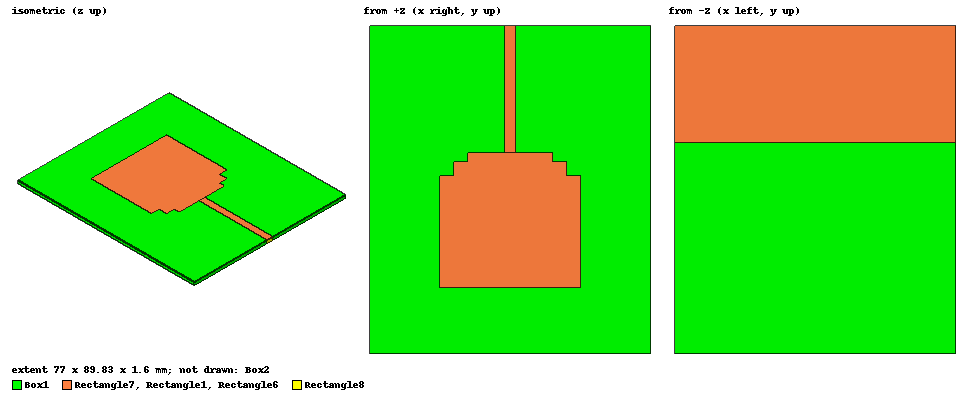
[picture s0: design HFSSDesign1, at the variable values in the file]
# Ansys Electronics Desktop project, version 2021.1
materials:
  vacuum: permittivity=1
  FR4_epoxy: permittivity=4.4 dielectric_loss_tangent=0.02
  air: permittivity=1.0006 permeability=1.0000004

design HFSSDesign1 (HFSS, DrivenModal, model units mm)
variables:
  ls = (30*2.566666666666667) mm
  ws = (35*2.566666666666667) mm
  hs = 1.6mm
  lp = (15*2.566666666666667) mm
  lf = (13.5*2.566666666666667) mm
  wp = (14.5*2.566666666666667) mm
  lsl1 = (3*2.566666666666667) mm
  wsl1 = (1*2.566666666666667) mm
  lsl2 = (1.5*2.566666666666667) mm
  wsl2 = (1.5*2.566666666666667) mm
  wf = 2.9829102mm
  wg = (12.5*2.566666666666667) mm
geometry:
  Box1 [FR4_epoxy] = box(corner=(-ls/2, -ws/2, 0mm), size=(ls, ws, hs))
  Rectangle1 = rectangle(corner=(-lp/2, ws/2-lf, hs), x_size=lp, y_size=-wp)
  Rectangle2 = rectangle(corner=(lp/2, ws/2-lf, hs), x_size=-lsl1, y_size=-wsl1)
  Rectangle3 = rectangle(corner=(lp/2, ws/2-lf-wsl1, hs), x_size=-lsl2, y_size=-wsl2)
  Rectangle4 = rectangle(corner=(-lp/2, ws/2-lf, hs), x_size=lsl1, y_size=-wsl1)
  Rectangle5 = rectangle(corner=(-lp/2, ws/2-lf-wsl1, hs), x_size=lsl2, y_size=-wsl2)
  Rectangle5.unite(Rectangle4, Rectangle3, Rectangle2)
  Rectangle1.subtract(Rectangle5)
  Rectangle6 = rectangle(corner=(-wf/2, ws/2, hs), x_size=wf, y_size=-lf)
  Rectangle7 = rectangle(corner=(-ls/2, ws/2, 0mm), x_size=ls, y_size=-wg)
  Box2 [air] = box(corner=(-ls/2-15*2.566666666666667mm, -ws/2-15*2.566666666666667mm, -16*2.566666666666667mm), size=(ls+30*2.566666666666667mm, ws+30*2.566666666666667mm, (32*2.566666666666667) mm))
  Rectangle8 = rectangle(corner=(-wf/2, ws/2, 0mm), z_size=hs, x_size=wf)
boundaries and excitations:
  PerfE1: Perfect E Objects=Rectangle1
  PerfE2: Perfect E Objects=Rectangle6
  PerfE3: Perfect E Objects=Rectangle7
  Rad1: Radiation Objects=Box2
  1: Lumped Port Objects=Rectangle8 Modes{Mode1{IntLine{middle of Rectangle8.edge(z at corner) -> middle of Rectangle8.edge(z opposite corner)} CharImp=Zpi RenormImp=50ohm}} Impedance=50ohm
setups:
  Setup1: HfssDriven Frequency=5GHz MaxDeltaS=0.02 MaximumPasses=6 MinimumPasses=1 MinimumConvergedPasses=1 PercentRefinement=30 BasisOrder=1 PortAccuracy=2
    sweep Sweep: 1GHz to 6GHz step 0.01GHz; Type=Fast SaveFields
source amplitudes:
  1:1: 1W 0deg
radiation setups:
  Infinite Sphere1: Infinite Sphere Theta=0deg..360deg step 2deg Phi=-180deg..180deg step 2deg
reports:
  S Parameter Plot 1: dB(S(1,1)) vs Freq on Setup1 : Sweep
  Gain Plot 2: dB(GainPhi) vs Theta on Setup1 : Sweep, Infinite Sphere1 [Phi=0deg,90deg Freq=1.57GHz]
  Gain Plot 3: dB(GainTheta) vs Theta on Setup1 : Sweep, Infinite Sphere1 [Phi=0deg,90deg Freq=1.57GHz]
  Gain Plot 4: dB(GainPhi), dB(GainTheta) vs Theta on Setup1 : Sweep, Infinite Sphere1 [Phi=0deg,90deg Freq=1.57GHz]
  Gain Plot 5: dB(GainPhi) vs Theta on Setup1 : Sweep, Infinite Sphere1 [Phi=0deg,90deg Freq=4.52GHz]
  Gain Plot 6: dB(GainTheta) vs Theta on Setup1 : Sweep, Infinite Sphere1 [Phi=0deg,90deg Freq=4.52GHz]
  Gain Plot 7: dB(GainPhi), dB(GainTheta) vs Theta on Setup1 : Sweep, Infinite Sphere1 [Phi=0deg,90deg Freq=4.52GHz]
  Gain Plot 8: dB(GainTotal) vs Phi, Theta on Setup1 : Sweep, Infinite Sphere1 [Freq=3GHz]
  Gain Plot 9: dB(GainPhi), dB(GainTheta) vs Theta on Setup1 : Sweep, Infinite Sphere1 [Phi=0deg Freq=1.57GHz]
  Gain Plot 10: dB(GainPhi), dB(GainTheta) vs Theta on Setup1 : Sweep, Infinite Sphere1 [Phi=90deg Freq=1.57GHz]
  Gain Plot 11: dB(GainPhi), dB(GainTheta) vs Theta on Setup1 : Sweep, Infinite Sphere1 [Phi=0deg Freq=4.52GHz]
  Gain Plot 12: dB(GainPhi), dB(GainTheta) vs Theta on Setup1 : Sweep, Infinite Sphere1 [Phi=90deg Freq=4.52GHz]
